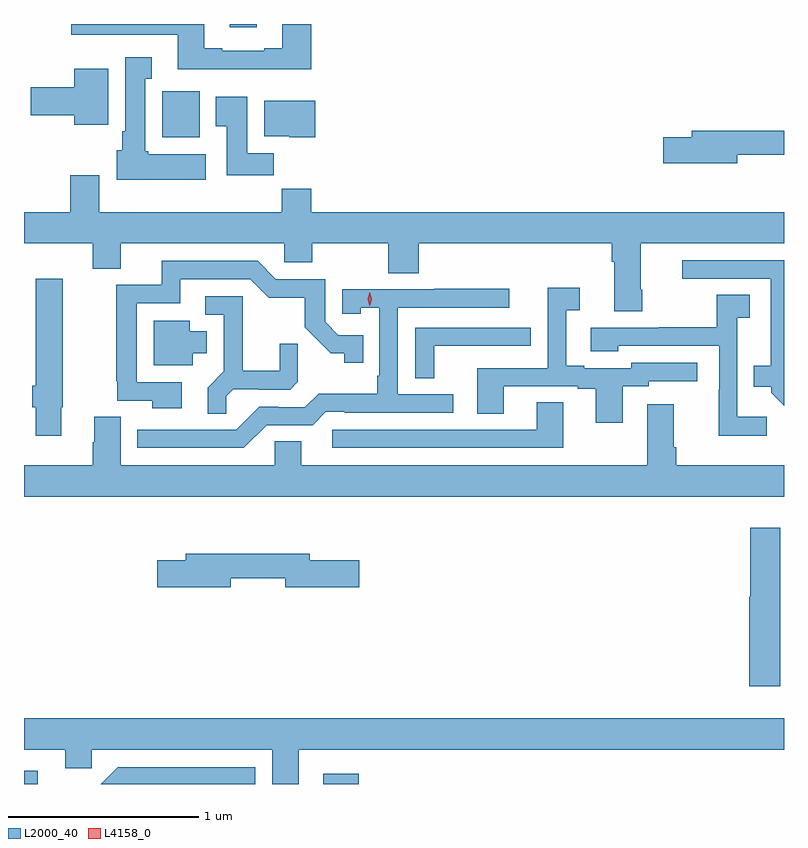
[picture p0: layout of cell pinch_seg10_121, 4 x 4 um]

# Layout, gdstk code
import gdstk
lib = gdstk.Library(unit=1e-6, precision=1e-09)
def R(c, l, rs):  # rectangles x0, y0, x1, y1
    for r in rs: c.add(gdstk.rectangle(r[:2], r[2:], *l))
def P(c, l, *ps):  # polygons
    for p in ps: c.add(gdstk.Polygon(p, *l))
L2000_40 = (2000, 40)
L4158_0 = (4158, 0)

pinch_seg10_121 = lib.new_cell('pinch_seg10_121')
R(pinch_seg10_121, L2000_40, [(731.401,1282.819,731.473,1282.89), (732.975,1282.819,733.163,1282.873), (732.128,1286.222,732.325,1286.464), (732.485,1286.802,732.625,1286.819)])
P(pinch_seg10_121, L2000_40, [(732.914,1286.819),(732.761,1286.819),(732.761,1286.692),(732.665,1286.692),(732.665,1286.679),(732.445,1286.679),(732.445,1286.692),(732.349,1286.692),(732.349,1286.819),(731.649,1286.819),(731.649,1286.763),(732.209,1286.763),(732.209,1286.582),(732.914,1286.582)],
  [(732.358,1286.134),(732.054,1286.134),(732.054,1286.148),(732.04,1286.148),(732.04,1286.531),(732.073,1286.531),(732.073,1286.644),(731.933,1286.644),(731.933,1286.254),(731.918,1286.254),(731.918,1286.154),(731.888,1286.154),(731.888,1286),(732.358,1286)],
  [(731.845,1286.584),(731.666,1286.584),(731.666,1286.486),(731.436,1286.486),(731.436,1286.339),(731.666,1286.339),(731.666,1286.288),(731.845,1286.288)],
  [(732.716,1286.14),(732.577,1286.14),(732.577,1286.437),(732.41,1286.437),(732.41,1286.281),(732.467,1286.281),(732.467,1286.022),(732.716,1286.022)],
  [(732.934,1286.416),(732.665,1286.416),(732.665,1286.228),(732.798,1286.228),(732.798,1286.222),(732.934,1286.222)],
  [(735.154,1286.13),(735.401,1286.13),(735.401,1286.258),(734.915,1286.258),(734.915,1286.222),(734.766,1286.222),(734.766,1286.087),(735.154,1286.087)],
  [(734.655,1285.42),(734.647,1285.42),(734.647,1285.664),(735.401,1285.664),(735.401,1285.828),(732.914,1285.828),(732.914,1285.952),(732.757,1285.952),(732.757,1285.828),(731.797,1285.828),(731.797,1286.023),(731.645,1286.023),(731.645,1285.828),(731.401,1285.828),(731.401,1285.664),(731.764,1285.664),(731.764,1285.531),(731.911,1285.531),(731.911,1285.664),(732.771,1285.664),(732.771,1285.566),(732.918,1285.566),(732.918,1285.664),(733.318,1285.664),(733.318,1285.507),(733.478,1285.507),(733.478,1285.664),(734.495,1285.664),(734.495,1285.568),(734.507,1285.568),(734.507,1285.308),(734.655,1285.308)],
  [(735.401,1285.575),(734.865,1285.575),(734.865,1285.479),(735.332,1285.479),(735.332,1285.021),(735.241,1285.021),(735.241,1284.911),(735.333,1284.911),(735.333,1284.879),(735.401,1284.811)],
  [(732.232,1284.933),(731.994,1284.933),(731.994,1285.35),(732.223,1285.35),(732.223,1285.476),(732.591,1285.476),(732.69,1285.378),(732.879,1285.378),(732.879,1285.222),(733.016,1285.085),(733.086,1285.085),(733.086,1285.035),(733.187,1285.035),(733.187,1285.182),(733.056,1285.182),(732.987,1285.251),(732.987,1285.476),(732.726,1285.476),(732.63,1285.572),(732.125,1285.572),(732.125,1285.446),(731.886,1285.446),(731.886,1284.94),(731.893,1284.94),(731.893,1284.837),(732.076,1284.837),(732.076,1284.797),(732.232,1284.797)],
  [(731.596,1284.801),(731.604,1284.801),(731.604,1285.477),(731.462,1285.477),(731.462,1284.915),(731.444,1284.915),(731.444,1284.801),(731.462,1284.801),(731.462,1284.651),(731.596,1284.651)],
  [(734.551,1284.912),(734.688,1284.912),(734.688,1284.939),(734.944,1284.939),(734.944,1285.035),(734.598,1285.035),(734.598,1285.008),(734.35,1285.008),(734.35,1285.021),(734.254,1285.021),(734.254,1285.312),(734.326,1285.312),(734.326,1285.432),(734.157,1285.432),(734.157,1285.008),(733.787,1285.008),(733.787,1284.769),(733.927,1284.769),(733.927,1284.912),(734.315,1284.912),(734.315,1284.9),(734.411,1284.9),(734.411,1284.72),(734.551,1284.72)],
  [(732.678,1284.708),(732.921,1284.708),(732.99,1284.777),(733.09,1284.777),(733.09,1284.774),(733.66,1284.774),(733.66,1284.87),(733.368,1284.87),(733.368,1285.326),(733.954,1285.326),(733.954,1285.425),(733.561,1285.425),(733.561,1285.422),(733.077,1285.422),(733.077,1285.293),(733.173,1285.293),(733.173,1285.325),(733.272,1285.325),(733.272,1284.967),(733.26,1284.967),(733.26,1284.874),(732.952,1284.874),(732.879,1284.801),(732.74,1284.801),(732.74,1284.804),(732.639,1284.804),(732.519,1284.684),(731.996,1284.684),(731.996,1284.588),(732.558,1284.588)],
  [(735.31,1284.751),(735.156,1284.751),(735.156,1285.273),(735.22,1285.273),(735.22,1285.394),(735.048,1285.394),(735.048,1285.224),(734.743,1285.224),(734.743,1285.221),(734.385,1285.221),(734.385,1285.097),(734.529,1285.097),(734.529,1285.125),(735.06,1285.125),(735.06,1284.893),(735.058,1284.893),(735.058,1284.653),(735.31,1284.653)],
  [(732.465,1284.86),(732.502,1284.897),(732.636,1284.897),(732.636,1284.894),(732.801,1284.894),(732.842,1284.935),(732.842,1285.137),(732.748,1285.137),(732.748,1284.994),(732.551,1284.994),(732.551,1285.386),(732.354,1285.386),(732.354,1285.29),(732.453,1285.29),(732.453,1284.991),(732.367,1284.905),(732.367,1284.769),(732.465,1284.769)],
  [(732.289,1285.085),(732.364,1285.085),(732.364,1285.201),(732.274,1285.201),(732.274,1285.258),(732.083,1285.258),(732.083,1285.022),(732.289,1285.022)],
  [(733.56,1285.125),(733.955,1285.125),(733.955,1285.126),(734.068,1285.126),(734.068,1285.221),(733.461,1285.221),(733.461,1284.955),(733.56,1284.955)],
  [(734.239,1284.827),(734.099,1284.827),(734.099,1284.684),(733.023,1284.684),(733.023,1284.588),(734.239,1284.588)],
  [(735.401,1284.496),(734.834,1284.496),(734.834,1284.592),(734.821,1284.592),(734.821,1284.817),(734.681,1284.817),(734.681,1284.496),(732.859,1284.496),(732.859,1284.623),(732.72,1284.623),(732.72,1284.496),(731.911,1284.496),(731.911,1284.752),(731.771,1284.752),(731.771,1284.618),(731.764,1284.618),(731.764,1284.496),(731.401,1284.496),(731.401,1284.332),(735.401,1284.332)],
  [(735.382,1284.169),(735.224,1284.169),(735.224,1283.805),(735.218,1283.805),(735.218,1283.334),(735.382,1283.334)],
  [(732.49,1283.902),(732.776,1283.902),(732.776,1283.855),(733.165,1283.855),(733.165,1283.997),(732.904,1283.997),(732.904,1284.031),(732.251,1284.031),(732.251,1283.997),(732.102,1283.997),(732.102,1283.855),(732.49,1283.855)],
  [(732.847,1283),(735.401,1283),(735.401,1283.164),(731.401,1283.164),(731.401,1283),(731.618,1283),(731.618,1282.902),(731.757,1282.902),(731.757,1283),(732.707,1283),(732.707,1282.819),(732.847,1282.819)],
  [(732.618,1282.908),(731.894,1282.908),(731.805,1282.819),(732.618,1282.819)])
P(pinch_seg10_121, L4158_0, [(733.221,1285.334),(733.22,1285.335),(733.211,1285.371),(733.222,1285.406),(733.222,1285.407),(733.222,1285.406),(733.231,1285.37),(733.221,1285.335)])

lib.write_gds('pinch_seg10_121.gds')
